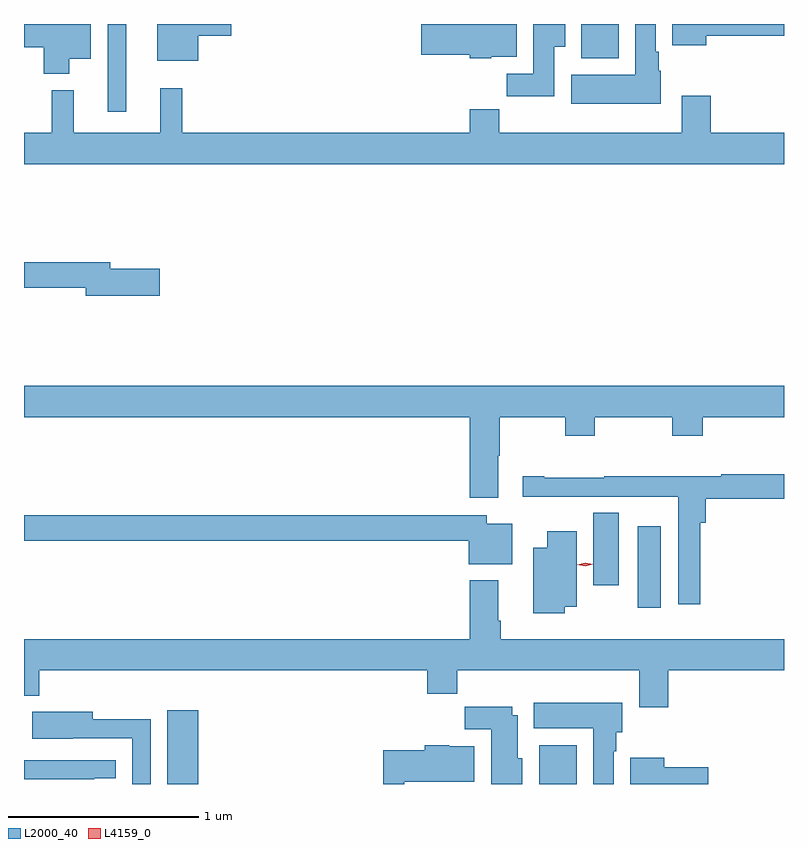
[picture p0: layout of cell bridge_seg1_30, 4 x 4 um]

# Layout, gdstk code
import gdstk
lib = gdstk.Library(unit=1e-6, precision=1e-09)
def R(c, l, rs):  # rectangles x0, y0, x1, y1
    for r in rs: c.add(gdstk.rectangle(r[:2], r[2:], *l))
def P(c, l, *ps):  # polygons
    for p in ps: c.add(gdstk.Polygon(p, *l))
L2000_40 = (2000, 40)
L4159_0 = (4159, 0)

bridge_seg1_30 = lib.new_cell('bridge_seg1_30')
R(bridge_seg1_30, L2000_40, [(962.753,549.801,962.914,550.189), (964.709,549.801,964.906,550.006), (965.228,550.728,965.35,551.158), (964.994,550.848,965.128,551.228), (962.439,553.338,962.536,553.801), (964.931,553.622,965.128,553.801)])
P(bridge_seg1_30, L2000_40, [(964.789,553.681),(964.846,553.681),(964.846,553.801),(964.679,553.801),(964.679,553.54),(964.54,553.54),(964.54,553.422),(964.789,553.422)],
  [(964.458,553.628),(964.591,553.628),(964.591,553.801),(964.088,553.801),(964.088,553.64),(964.344,553.64),(964.344,553.622),(964.458,553.622)],
  [(962.236,553.619),(962.35,553.619),(962.35,553.801),(961.998,553.801),(961.998,553.678),(962.102,553.678),(962.102,553.538),(962.236,553.538)],
  [(965.59,553.739),(965.998,553.739),(965.998,553.801),(965.411,553.801),(965.411,553.688),(965.59,553.688)],
  [(962.914,553.739),(963.088,553.739),(963.088,553.801),(962.699,553.801),(962.699,553.607),(962.914,553.607)],
  [(965.35,553.554),(965.338,553.554),(965.338,553.654),(965.323,553.654),(965.323,553.801),(965.216,553.801),(965.216,553.534),(964.877,553.534),(964.877,553.382),(965.35,553.382)],
  [(965.998,553.228),(965.612,553.228),(965.612,553.423),(965.459,553.423),(965.459,553.228),(964.499,553.228),(964.499,553.352),(964.343,553.352),(964.343,553.228),(962.831,553.228),(962.831,553.462),(962.714,553.462),(962.714,553.228),(962.261,553.228),(962.261,553.453),(962.143,553.453),(962.143,553.228),(961.998,553.228),(961.998,553.064),(965.998,553.064)],
  [(962.713,552.512),(962.452,552.512),(962.452,552.548),(961.998,552.548),(961.998,552.412),(962.324,552.412),(962.324,552.37),(962.713,552.37)],
  [(964.495,551.528),(964.503,551.528),(964.503,551.732),(964.846,551.732),(964.846,551.633),(965.001,551.633),(965.001,551.732),(965.41,551.732),(965.41,551.633),(965.57,551.633),(965.57,551.732),(965.998,551.732),(965.998,551.896),(961.998,551.896),(961.998,551.732),(964.343,551.732),(964.343,551.307),(964.495,551.307)],
  [(965.558,551.177),(965.585,551.177),(965.585,551.302),(965.998,551.302),(965.998,551.431),(965.668,551.431),(965.668,551.42),(965.466,551.42),(965.466,551.422),(965.051,551.422),(965.051,551.412),(964.735,551.412),(964.735,551.422),(964.623,551.422),(964.623,551.312),(964.898,551.312),(964.898,551.313),(965.232,551.313),(965.232,551.312),(965.442,551.312),(965.442,550.746),(965.558,550.746)],
  [(964.567,551.17),(964.434,551.17),(964.434,551.216),(961.998,551.216),(961.998,551.08),(964.34,551.08),(964.34,550.958),(964.567,550.958)],
  [(964.845,550.733),(964.906,550.733),(964.906,551.131),(964.751,551.131),(964.751,551.044),(964.679,551.044),(964.679,550.7),(964.845,550.7)],
  [(965.39,550.4),(965.998,550.4),(965.998,550.564),(964.508,550.564),(964.508,550.66),(964.495,550.66),(964.495,550.873),(964.343,550.873),(964.343,550.564),(961.998,550.564),(961.998,550.265),(962.078,550.265),(962.078,550.4),(964.121,550.4),(964.121,550.276),(964.277,550.276),(964.277,550.4),(965.237,550.4),(965.237,550.206),(965.39,550.206)],
  [(965.101,549.974),(965.116,549.974),(965.116,550.074),(965.146,550.074),(965.146,550.228),(964.682,550.228),(964.682,550.094),(964.994,550.094),(964.994,549.801),(965.101,549.801)],
  [(964.621,549.936),(964.597,549.936),(964.597,550.162),(964.567,550.162),(964.567,550.207),(964.318,550.207),(964.318,550.088),(964.457,550.088),(964.457,549.801),(964.621,549.801)],
  [(962.664,550.142),(962.359,550.142),(962.359,550.18),(962.041,550.18),(962.041,550.04),(962.255,550.04),(962.255,550.041),(962.568,550.041),(962.568,549.801),(962.664,549.801)],
  [(964,549.812),(964.369,549.812),(964.369,550),(964.236,550),(964.236,550.006),(964.106,550.006),(964.106,549.978),(963.888,549.978),(963.888,549.801),(964,549.801)],
  [(965.599,549.89),(965.368,549.89),(965.368,549.94),(965.189,549.94),(965.189,549.801),(965.599,549.801)],
  [(962.369,549.831),(962.482,549.831),(962.482,549.927),(961.998,549.927),(961.998,549.826),(962.369,549.826)])
P(bridge_seg1_30, L4159_0, [(964.952,550.946),(964.911,550.955),(964.911,550.955),(964.911,550.956),(964.952,550.966),(964.993,550.957),(964.993,550.957),(964.993,550.957)])

lib.write_gds('bridge_seg1_30.gds')
